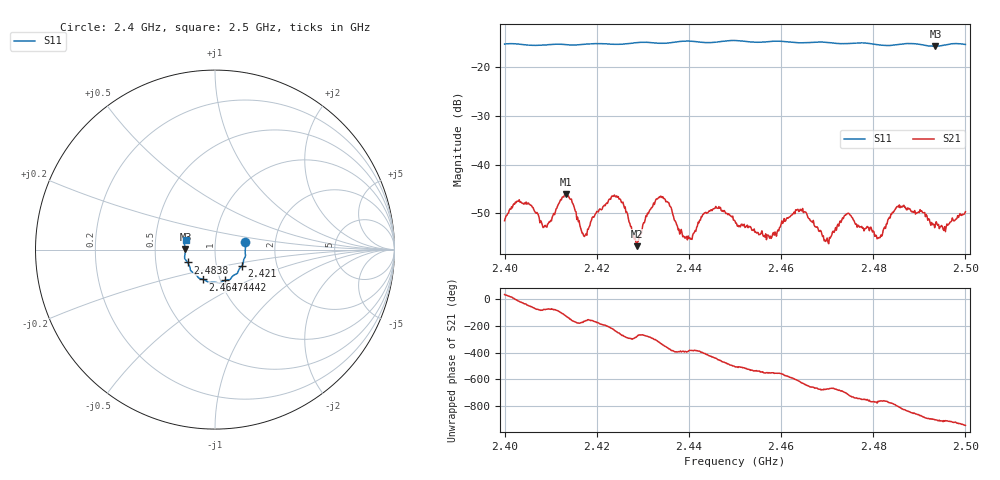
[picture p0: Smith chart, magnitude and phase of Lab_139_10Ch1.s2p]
# Hz S RI R 50
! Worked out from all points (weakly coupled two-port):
!   601 points, 2.4 GHz to 2.5 GHz, reference 50 ohm
!   highest |S21| = -46.09 dB at 2.4133 GHz (marker M1); lowest = -56.8 dB at 2.4287 GHz (marker M2)
!   lowest |S11| = -15.7 dB at 2.4935 GHz (marker M3), VSWR 1.39, Z = 35.8 + j0.197 ohm
!   |S11| at or under -10 dB: start of sweep to end of sweep
!   S12 and S22 are empty: the file has one direction only
!   S11 on the Smith chart (normalised r, x): 2.4 GHz: 1.40, +0.12; 2.421 GHz: 1.33, -0.24; 2.4442 GHz: 1.05, -0.37; 2.4647 GHz: 0.83, -0.28; 2.4838 GHz: 0.73, -0.11; 2.5 GHz: 0.71, +0.08
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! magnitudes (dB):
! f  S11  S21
! 2.4 GHz  -15.2  -51.5
! 2.4032 GHz  -15.2  -47.2
! 2.4088 GHz  -15.4  -52.5
! 2.4133 GHz  -15.3  -46.1
! 2.4167 GHz  -15.3  -53.6
! 2.421 GHz  -15.1  -49.3
! 2.4247 GHz  -15.2  -46.6
! 2.4287 GHz  -14.9  -56.8
! 2.4333 GHz  -15.0  -46.9
! 2.4392 GHz  -14.6  -55.1
! 2.4442 GHz  -14.9  -49.8
! 2.45 GHz  -14.5  -51.6
! 2.4573 GHz  -14.7  -54.6
! 2.4647 GHz  -14.9  -49.0
! 2.4667 GHz  -14.8  -51.7
! 2.4698 GHz  -14.8  -55.4
! 2.4743 GHz  -15.1  -50.1
! 2.481 GHz  -15.4  -55.2
! 2.4833 GHz  -15.5  -51.1
! 2.4838 GHz  -15.5  -50.2
! 2.4935 GHz  -15.7  -52.3
! 2.5 GHz  -15.3  -49.7
